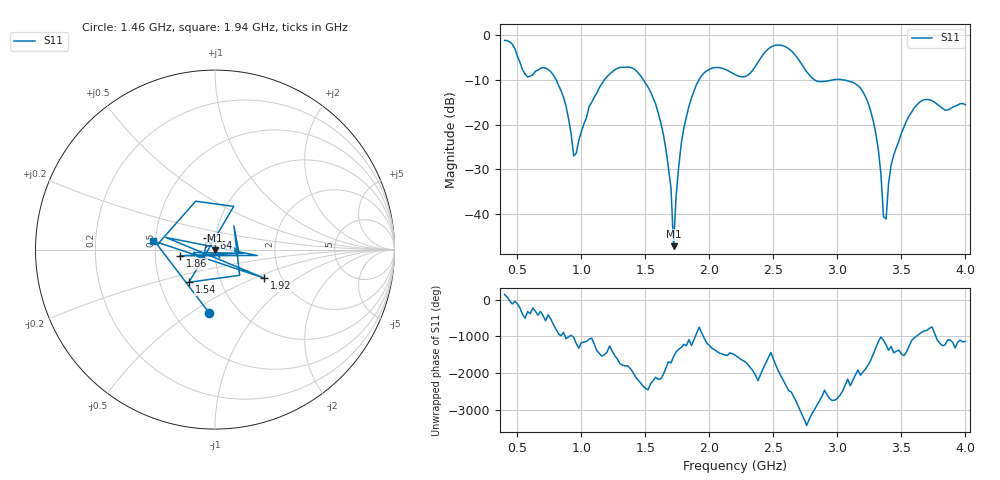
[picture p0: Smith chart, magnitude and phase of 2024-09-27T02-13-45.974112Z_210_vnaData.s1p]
!Created with skrf (http://scikit-rf.org).
# Hz S RI R 50.0
!freq ReS11 ImS11
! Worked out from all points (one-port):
!   181 points, 400 MHz to 4 GHz, reference 50 ohm
!   lowest |S11| = -47.2 dB at 1.72 GHz (marker M1), VSWR 1.01, Z = 49.8 - j0.408 ohm
!   |S11| at or under -10 dB: 802.4 MHz to 1.179 GHz (376.6 MHz wide, 38 % of centre); 1.484 GHz to 1.92 GHz (435.8 MHz wide, 25.6 % of centre); 3.042 GHz to end of sweep (the widest 3 of 4)
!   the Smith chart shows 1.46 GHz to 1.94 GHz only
!   S11 on the Smith chart (normalised r, x): 1.46 GHz: 0.73, -0.59; 1.54 GHz: 0.70, -0.27; 1.64 GHz: 0.91, +0.11; 1.86 GHz: 0.67, -0.05; 1.92 GHz: 1.63, -0.58; 1.94 GHz: 0.48, +0.05
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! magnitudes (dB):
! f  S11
! 400 MHz  -1.2
! 580 MHz  -9.4
! 720 MHz  -7.4
! 860 MHz  -13.8
! 940 MHz  -27.0
! 1.06 GHz  -16.0
! 1.3 GHz  -7.2
! 1.46 GHz  -9.0
! 1.54 GHz  -12.7
! 1.64 GHz  -22.2
! 1.7 GHz  -34.2
! 1.72 GHz  -47.2
! 1.76 GHz  -29.5
! 1.86 GHz  -14.1
! 1.92 GHz  -10.0
! 1.94 GHz  -9.1
! 2.2 GHz  -8.8
! 2.5 GHz  -2.4
! 2.66 GHz  -4.1
! 2.84 GHz  -10.3
! 3.1 GHz  -10.4
! 3.26 GHz  -17.0
! 3.32 GHz  -25.6
! 3.36 GHz  -40.6
! 3.38 GHz  -41.1
! 3.42 GHz  -29.1
! 3.56 GHz  -18.1
! 4 GHz  -15.6
